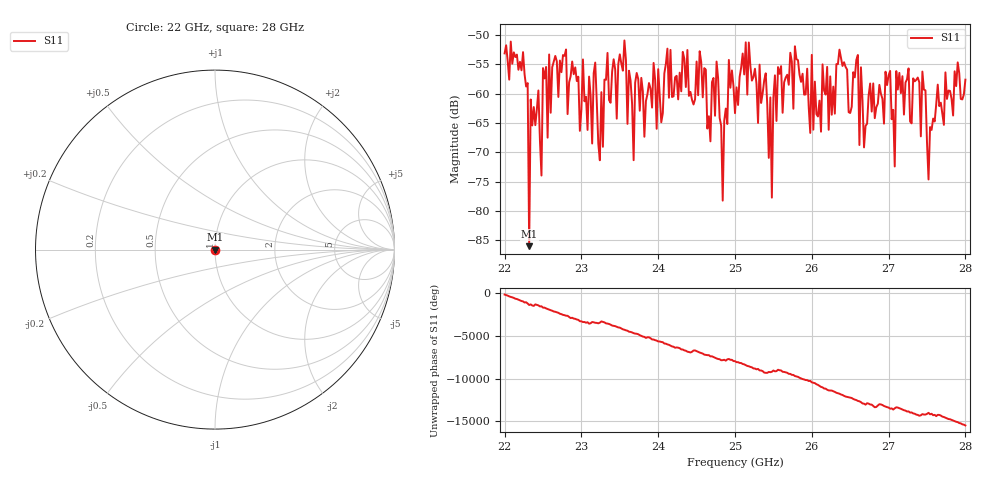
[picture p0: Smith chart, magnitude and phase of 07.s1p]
#  HZ  S  RI  R  50.00
! Rohde & Schwarz ZVA40 4Ports - Version 3.90 - 1145.1110k42 SN: 100403
! Date: 2023-10-04 11:46:20
! Measurement: S12
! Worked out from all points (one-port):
!   301 points, 22 GHz to 28 GHz, reference 50 ohm
!   lowest |S11| = -86.0 dB at 22.32 GHz (marker M1), VSWR 1.00, Z = 50 + j0.00497 ohm
!   |S11| at or under -10 dB: start of sweep to end of sweep
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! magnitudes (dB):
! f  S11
! 22 GHz  -53.1
! 22.24 GHz  -52.9
! 22.3 GHz  -58.2
! 22.32 GHz  -86.0
! 22.34 GHz  -61.0
! 22.48 GHz  -74.0
! 22.5 GHz  -55.6
! 22.76 GHz  -53.4
! 23.18 GHz  -54.7
! 23.24 GHz  -71.4
! 23.5 GHz  -53.3
! 23.68 GHz  -71.3
! 24.26 GHz  -61.0
! 24.76 GHz  -54.5
! 24.84 GHz  -78.2
! 24.92 GHz  -54.2
! 25 GHz  -63.3
! 25.4 GHz  -56.5
! 25.48 GHz  -77.7
! 25.52 GHz  -56.9
! 25.76 GHz  -62.6
! 26.5 GHz  -63.3
! 27.02 GHz  -56.1
! 27.08 GHz  -72.4
! 27.1 GHz  -56.1
! 27.26 GHz  -55.7
! 27.52 GHz  -74.6
! 28 GHz  -57.6
